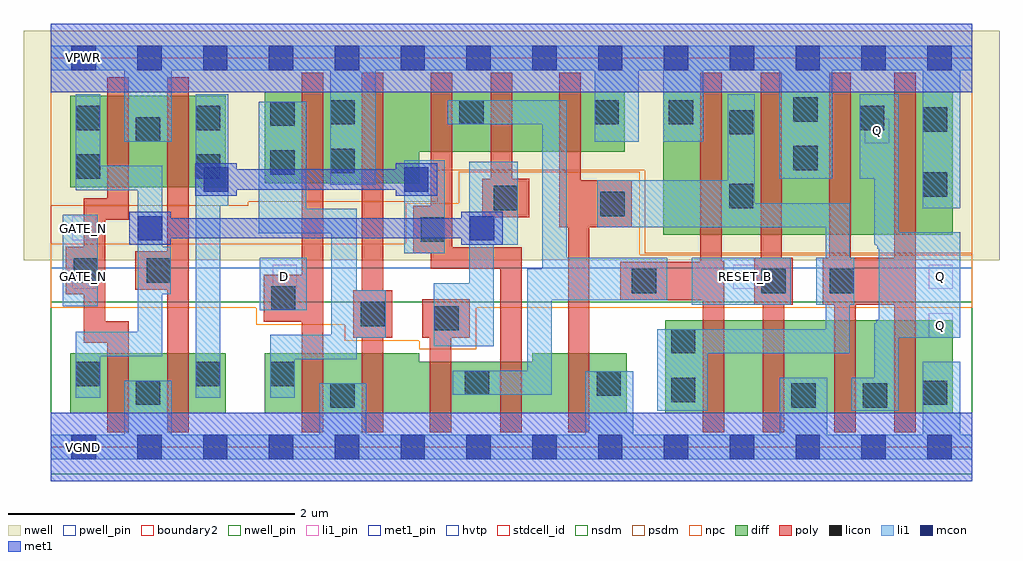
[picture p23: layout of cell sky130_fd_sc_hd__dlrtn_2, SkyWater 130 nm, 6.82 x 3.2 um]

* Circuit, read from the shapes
.subckt sky130_fd_sc_hd__dlrtn_2 D GATE_N Q RESET_B VGND VNB VPB VPWR
XM1 VGND GATE_N n1 VNB sky130_fd_pr__nfet_01v8 w=0.42 l=0.15
XM2 n2 n1 VGND VNB sky130_fd_pr__nfet_01v8 w=0.42 l=0.15
XM3 VGND D n3 VNB sky130_fd_pr__nfet_01v8 w=0.42 l=0.15
XM4 n4 n3 VGND VNB sky130_fd_pr__nfet_01v8 w=0.42 l=0.15
XM5 n5 n1 n4 VNB sky130_fd_pr__nfet_01v8 w=0.36 l=0.15
XM6 n6 n2 n5 VNB sky130_fd_pr__nfet_01v8 w=0.36 l=0.15
XM7 VGND n7 n6 VNB sky130_fd_pr__nfet_01v8 w=0.42 l=0.15
XM8 n8 n5 n7 VNB sky130_fd_pr__nfet_01v8 w=0.65 l=0.15
XM9 VGND RESET_B n8 VNB sky130_fd_pr__nfet_01v8 w=0.65 l=0.15
XM10 Q n7 VGND VNB sky130_fd_pr__nfet_01v8 w=0.65 l=0.15 m=2
XM11 VPWR GATE_N n1 VPB sky130_fd_pr__pfet_01v8_hvt w=0.64 l=0.15
XM12 n2 n1 VPWR VPB sky130_fd_pr__pfet_01v8_hvt w=0.64 l=0.15
XM13 VPWR D n3 VPB sky130_fd_pr__pfet_01v8_hvt w=0.64 l=0.15
XM14 n9 n3 VPWR VPB sky130_fd_pr__pfet_01v8_hvt w=0.64 l=0.15
XM15 n5 n2 n9 VPB sky130_fd_pr__pfet_01v8_hvt w=0.42 l=0.15
XM16 n10 n1 n5 VPB sky130_fd_pr__pfet_01v8_hvt w=0.42 l=0.15
XM17 VPWR n7 n10 VPB sky130_fd_pr__pfet_01v8_hvt w=0.42 l=0.15
XM18 n7 n5 VPWR VPB sky130_fd_pr__pfet_01v8_hvt w=1 l=0.15
XM19 VPWR RESET_B n7 VPB sky130_fd_pr__pfet_01v8_hvt w=1 l=0.15
XM20 Q n7 VPWR VPB sky130_fd_pr__pfet_01v8_hvt w=1 l=0.15 m=2
.ends

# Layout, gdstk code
import gdstk
lib = gdstk.Library(unit=1e-6, precision=1e-09)
def R(c, l, rs):  # rectangles x0, y0, x1, y1
    for r in rs: c.add(gdstk.rectangle(r[:2], r[2:], *l))
def A(c, l, x, y, w, h, nx, ny, dx, dy):  # array of equal rectangles
    R(c, l, [(x+i*dx, y+j*dy, x+i*dx+w, y+j*dy+h) for i in range(nx) for j in range(ny)])
def P(c, l, *ps):  # polygons
    for p in ps: c.add(gdstk.Polygon(p, *l))
nwell_pin = (64, 16)
nwell = (64, 20)
diff = (65, 20)
poly = (66, 20)
licon = (66, 44)
li1_pin = (67, 16)
li1 = (67, 20)
mcon = (67, 44)
met1_pin = (68, 16)
met1 = (68, 20)
hvtp = (78, 44)
stdcell_id = (81, 4)
nsdm = (93, 44)
psdm = (94, 20)
npc = (95, 20)
pwell_pin = (122, 16)
boundary2 = (236, 0)

sky130_fd_sc_hd__dlrtn_2 = lib.new_cell('sky130_fd_sc_hd__dlrtn_2')
R(sky130_fd_sc_hd__dlrtn_2, nwell_pin, [(0.15,2.635,0.32,2.805), (0.15,2.635,0.32,2.805)])
R(sky130_fd_sc_hd__dlrtn_2, nwell, [(-0.19,1.305,6.63,2.91)])
R(sky130_fd_sc_hd__dlrtn_2, diff, [(0.135,0.235,1.225,0.655), (4.295,0.235,6.305,0.885), (4.28,1.485,6.305,2.485), (0.135,1.815,1.225,2.455)])
P(sky130_fd_sc_hd__dlrtn_2, diff, [(4.01,2.485),(1.495,2.485),(1.495,1.845),(2.575,1.845),(2.575,2.065),(4.01,2.065)],
  [(4.025,0.655),(3.365,0.655),(3.365,0.595),(2.575,0.595),(2.575,0.655),(1.495,0.655),(1.495,0.235),(4.025,0.235)])
P(sky130_fd_sc_hd__dlrtn_2, poly, [(0.545,0.88),(0.38,0.88),(0.38,1.59),(0.545,1.59),(0.545,2.585),(0.395,2.585),(0.395,1.74),(0.23,1.74),(0.23,1.4),(0.105,1.4),(0.105,1.07),(0.23,1.07),(0.23,0.73),(0.395,0.73),(0.395,0.105),(0.545,0.105)],
  [(0.965,2.585),(0.815,2.585),(0.815,1.37),(0.59,1.37),(0.59,1.1),(0.815,1.1),(0.815,0.105),(0.965,0.105)],
  [(1.905,2.615),(1.755,2.615),(1.755,1.205),(1.49,1.205),(1.49,0.875),(1.755,0.875),(1.755,0.105),(1.905,0.105)],
  [(4.705,1.3),(4.69,1.3),(4.69,2.615),(4.54,2.615),(4.54,1.295),(3.98,1.295),(3.98,1.025),(4.555,1.025),(4.555,0.105),(4.705,0.105)],
  [(6.045,2.615),(5.895,2.615),(5.895,1.325),(5.59,1.325),(5.59,2.615),(5.44,2.615),(5.44,1.325),(5.395,1.325),(5.395,0.995),(5.475,0.995),(5.475,0.105),(5.625,0.105),(5.625,0.995),(5.895,0.995),(5.895,0.105),(6.045,0.105)],
  [(2.93,1.035),(2.595,1.035),(2.595,0.765),(2.65,0.765),(2.65,0.105),(2.8,0.105),(2.8,0.765),(2.93,0.765)],
  [(4.06,1.865),(3.705,1.865),(3.705,2.615),(3.555,2.615),(3.555,1.535),(3.615,1.535),(3.615,0.105),(3.765,0.105),(3.765,1.535),(4.06,1.535)],
  [(3.29,1.395),(2.805,1.395),(2.805,2.615),(2.655,2.615),(2.655,1.685),(2.535,1.685),(2.535,1.355),(2.655,1.355),(2.655,1.245),(3.14,1.245),(3.14,0.105),(3.29,0.105)],
  [(2.385,1.095),(2.325,1.095),(2.325,2.615),(2.175,2.615),(2.175,1.095),(2.115,1.095),(2.115,0.765),(2.175,0.765),(2.175,0.105),(2.325,0.105),(2.325,0.765),(2.385,0.765)],
  [(5.185,1.325),(5.11,1.325),(5.11,2.615),(4.96,2.615),(4.96,1.325),(4.915,1.325),(4.915,0.995),(4.975,0.995),(4.975,0.105),(5.125,0.105),(5.125,0.995),(5.185,0.995)],
  [(3.345,1.875),(3.225,1.875),(3.225,2.615),(3.075,2.615),(3.075,1.875),(3.015,1.875),(3.015,1.605),(3.345,1.605)])
R(sky130_fd_sc_hd__dlrtn_2, licon, [(1.955,0.275,2.125,0.445), (5.175,0.275,5.345,0.445), (5.675,0.275,5.845,0.445), (0.595,0.295,0.765,0.465), (6.095,0.295,6.265,0.465), (4.335,0.315,4.505,0.485), (3.815,0.36,3.985,0.53), (2.895,0.365,3.065,0.535), (0.175,0.425,0.345,0.595), (1.015,0.425,1.185,0.595), (1.535,0.425,1.705,0.595), (4.335,0.655,4.505,0.825), (2.68,0.815,2.85,0.985), (2.165,0.845,2.335,1.015), (1.54,0.955,1.71,1.125), (4.06,1.075,4.23,1.245), (4.965,1.075,5.135,1.245), (5.445,1.075,5.615,1.245), (0.16,1.15,0.33,1.32), (0.67,1.15,0.84,1.32), (2.585,1.435,2.755,1.605), (3.84,1.615,4.01,1.785), (3.095,1.655,3.265,1.825), (4.74,1.67,4.91,1.84), (6.095,1.75,6.265,1.92), (0.175,1.875,0.345,2.045), (1.015,1.875,1.185,2.045), (1.535,1.905,1.705,2.075), (1.955,1.915,2.125,2.085), (5.19,1.935,5.36,2.105), (0.595,2.135,0.765,2.305), (4.74,2.185,4.91,2.355), (6.095,2.205,6.265,2.375), (0.175,2.215,0.345,2.385), (1.015,2.215,1.185,2.385), (5.655,2.215,5.825,2.385), (1.535,2.245,1.705,2.415), (1.955,2.255,2.125,2.425), (2.855,2.255,3.025,2.425), (3.8,2.255,3.97,2.425), (4.32,2.255,4.49,2.425), (5.19,2.275,5.36,2.445)])
R(sky130_fd_sc_hd__dlrtn_2, li1_pin, [(6.135,0.765,6.305,0.935), (0.15,1.105,0.32,1.275), (1.55,1.105,1.72,1.275), (4.77,1.105,4.94,1.275), (6.135,1.105,6.305,1.275), (0.15,1.445,0.32,1.615), (5.69,2.125,5.86,2.295)])
R(sky130_fd_sc_hd__dlrtn_2, li1, [(1.46,0.955,1.79,1.325), (0.085,0.985,0.33,1.625), (4.48,0.995,5.17,1.325), (2.47,1.355,2.755,2.005)])
P(sky130_fd_sc_hd__dlrtn_2, li1, [(6.44,0.085),(6.355,0.085),(6.355,0.595),(6.095,0.595),(6.095,0.085),(5.425,0.085),(5.425,0.485),(5.095,0.485),(5.095,0.085),(4.07,0.085),(4.07,0.53),(3.735,0.53),(3.735,0.085),(2.205,0.085),(2.205,0.445),(1.875,0.445),(1.875,0.085),(0.845,0.085),(0.845,0.465),(0.515,0.465),(0.515,0.085),(0,0.085),(0,-0.085),(6.44,-0.085)],
  [(2.34,1.095),(2.14,1.095),(2.14,1.665),(1.785,1.665),(1.785,2.415),(1.455,2.415),(1.455,1.495),(1.96,1.495),(1.96,0.785),(1.535,0.785),(1.535,0.345),(1.705,0.345),(1.705,0.615),(2.14,0.615),(2.14,0.765),(2.34,0.765)],
  [(0.84,1.4),(0.78,1.4),(0.78,1.965),(0.345,1.965),(0.345,2.465),(0.175,2.465),(0.175,1.795),(0.61,1.795),(0.61,0.805),(0.175,0.805),(0.175,0.345),(0.345,0.345),(0.345,0.635),(0.78,0.635),(0.78,1.07),(0.84,1.07)],
  [(1.24,2.465),(1.015,2.465),(1.015,0.345),(1.185,0.345),(1.185,1.685),(1.24,1.685)],
  [(4.31,1.325),(3.605,1.325),(3.605,2.425),(2.775,2.425),(2.775,2.255),(3.435,2.255),(3.435,1.245),(3.33,1.245),(3.33,0.535),(2.81,0.535),(2.81,0.365),(3.5,0.365),(3.5,1.025),(4.31,1.025)],
  [(6.355,1.5),(5.925,1.5),(5.925,2.465),(5.655,2.465),(5.655,1.875),(5.755,1.875),(5.755,1.425),(5.76,1.425),(5.76,1.415),(5.765,1.415),(5.765,1.41),(5.775,1.41),(5.775,1.385),(5.785,1.385),(5.785,0.89),(5.77,0.89),(5.77,0.865),(5.755,0.865),(5.755,0.485),(5.595,0.485),(5.595,0.255),(5.925,0.255),(5.925,0.765),(6.355,0.765)],
  [(6.44,2.805),(0,2.805),(0,2.635),(0.515,2.635),(0.515,2.135),(0.845,2.135),(0.845,2.635),(1.955,2.635),(1.955,1.835),(2.27,1.835),(2.27,2.635),(3.8,2.635),(3.8,2.135),(4.11,2.135),(4.11,2.635),(4.28,2.635),(4.28,2.135),(4.56,2.135),(4.56,2.635),(5.09,2.635),(5.09,1.875),(5.46,1.875),(5.46,2.635),(6.095,2.635),(6.095,1.67),(6.355,1.67),(6.355,2.635),(6.44,2.635)],
  [(5.615,1.325),(5.585,1.325),(5.585,1.705),(4.92,1.705),(4.92,2.465),(4.73,2.465),(4.73,1.865),(3.82,1.865),(3.82,1.535),(5.415,1.535),(5.415,1.325),(5.35,1.325),(5.35,0.995),(5.415,0.995),(5.415,0.825),(4.24,0.825),(4.24,0.255),(4.59,0.255),(4.59,0.655),(5.585,0.655),(5.585,0.995),(5.615,0.995)],
  [(3.265,1.995),(2.925,1.995),(2.925,1.145),(2.675,1.145),(2.675,0.705),(3.095,0.705),(3.095,1.415),(3.265,1.415)])
A(sky130_fd_sc_hd__dlrtn_2, mcon, 0.145, -0.085, 0.17, 0.17, 14, 2, 0.46, 2.72)
R(sky130_fd_sc_hd__dlrtn_2, mcon, [(0.61,1.445,0.78,1.615), (2.93,1.445,3.1,1.615), (1.07,1.785,1.24,1.955), (2.47,1.785,2.64,1.955)])
R(sky130_fd_sc_hd__dlrtn_2, met1_pin, [(0.15,-0.085,0.32,0.085), (0.15,-0.085,0.32,0.085), (0.15,2.635,0.32,2.805), (0.15,2.635,0.32,2.805)])
R(sky130_fd_sc_hd__dlrtn_2, met1, [(0,-0.24,6.44,0.24), (0,2.48,6.44,2.96)])
P(sky130_fd_sc_hd__dlrtn_2, met1, [(2.7,1.985),(2.41,1.985),(2.41,1.94),(1.3,1.94),(1.3,1.985),(1.01,1.985),(1.01,1.755),(1.3,1.755),(1.3,1.8),(2.41,1.8),(2.41,1.755),(2.7,1.755)],
  [(3.16,1.645),(2.87,1.645),(2.87,1.6),(0.84,1.6),(0.84,1.645),(0.55,1.645),(0.55,1.415),(0.84,1.415),(0.84,1.46),(2.87,1.46),(2.87,1.415),(3.16,1.415)])
R(sky130_fd_sc_hd__dlrtn_2, hvtp, [(0,1.25,6.44,2.72)])
R(sky130_fd_sc_hd__dlrtn_2, stdcell_id, [(0,0,6.44,2.72)])
R(sky130_fd_sc_hd__dlrtn_2, nsdm, [(0,-0.19,6.44,1.015)])
P(sky130_fd_sc_hd__dlrtn_2, psdm, [(6.44,2.91),(0,2.91),(0,1.685),(1.38,1.685),(1.38,1.715),(2.705,1.715),(2.705,1.935),(4.15,1.935),(4.15,1.355),(6.44,1.355)])
P(sky130_fd_sc_hd__dlrtn_2, npc, [(6.44,1.345),(4.115,1.345),(4.115,1.925),(2.85,1.925),(2.85,1.705),(2.48,1.705),(2.48,1.42),(0,1.42),(0,0.975),(1.435,0.975),(1.435,0.855),(2.055,0.855),(2.055,0.745),(2.575,0.745),(2.575,0.685),(2.975,0.685),(2.975,0.975),(6.44,0.975)])
R(sky130_fd_sc_hd__dlrtn_2, pwell_pin, [(0.15,-0.085,0.32,0.085), (0.15,-0.085,0.32,0.085)])
R(sky130_fd_sc_hd__dlrtn_2, boundary2, [(0,0,6.44,2.72)])
sky130_fd_sc_hd__dlrtn_2.add(gdstk.Label('RESET_B', (4.855,1.19), layer=67, texttype=5))
sky130_fd_sc_hd__dlrtn_2.add(gdstk.Label('Q', (5.775,2.21), layer=67, texttype=5))
sky130_fd_sc_hd__dlrtn_2.add(gdstk.Label('Q', (6.22,0.85), layer=67, texttype=5))
sky130_fd_sc_hd__dlrtn_2.add(gdstk.Label('Q', (6.22,1.19), layer=67, texttype=5))
sky130_fd_sc_hd__dlrtn_2.add(gdstk.Label('D', (1.635,1.19), layer=67, texttype=5))
sky130_fd_sc_hd__dlrtn_2.add(gdstk.Label('GATE_N', (0.23,1.19), layer=67, texttype=5))
sky130_fd_sc_hd__dlrtn_2.add(gdstk.Label('GATE_N', (0.23,1.53), layer=67, texttype=5))
sky130_fd_sc_hd__dlrtn_2.add(gdstk.Label('VGND', (0.23,0), layer=68, texttype=5))
sky130_fd_sc_hd__dlrtn_2.add(gdstk.Label('VPWR', (0.23,2.72), layer=68, texttype=5))
sky130_fd_sc_hd__dlrtn_2.add(gdstk.Label('VGND', (0.23,0), layer=68, texttype=5))
sky130_fd_sc_hd__dlrtn_2.add(gdstk.Label('VPWR', (0.23,2.72), layer=68, texttype=5))
sky130_fd_sc_hd__dlrtn_2.add(gdstk.Label('VPB', (0.235,2.72), layer=64, texttype=5))
sky130_fd_sc_hd__dlrtn_2.add(gdstk.Label('VPB', (0.235,2.72), layer=64, texttype=5))
sky130_fd_sc_hd__dlrtn_2.add(gdstk.Label('VPB', (0.235,2.72), layer=64, texttype=5))
sky130_fd_sc_hd__dlrtn_2.add(gdstk.Label('VNB', (0.235,0), layer=64, texttype=59))
sky130_fd_sc_hd__dlrtn_2.add(gdstk.Label('VNB', (0.235,0), layer=64, texttype=59))
sky130_fd_sc_hd__dlrtn_2.add(gdstk.Label('VNB', (0.235,0), layer=64, texttype=59))
sky130_fd_sc_hd__dlrtn_2.add(gdstk.Label('dlrtn_2', (0,0), layer=83, texttype=44))

lib.write_gds('sky130_fd_sc_hd__dlrtn_2.gds')
